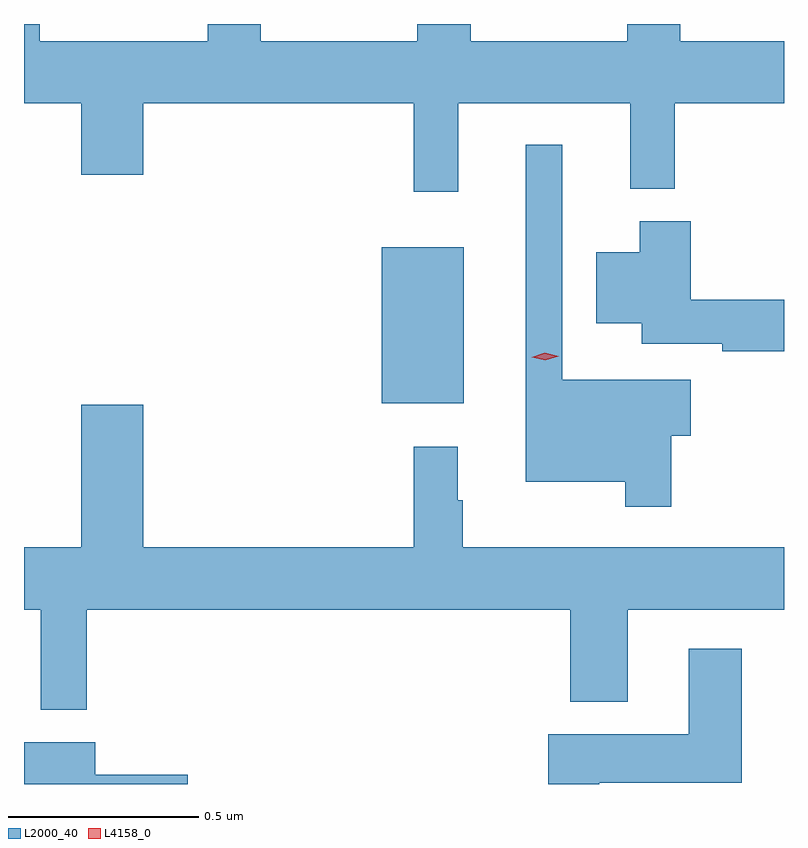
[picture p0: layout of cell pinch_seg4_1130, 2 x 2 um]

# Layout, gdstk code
import gdstk
lib = gdstk.Library(unit=1e-6, precision=1e-09)
def R(c, l, rs):  # rectangles x0, y0, x1, y1
    for r in rs: c.add(gdstk.rectangle(r[:2], r[2:], *l))
def P(c, l, *ps):  # polygons
    for p in ps: c.add(gdstk.Polygon(p, *l))
L2000_40 = (2000, 40)
L4158_0 = (4158, 0)

pinch_seg4_1130 = lib.new_cell('pinch_seg4_1130')
R(pinch_seg4_1130, L2000_40, [(405.56,794.699,405.775,795.109)])
P(pinch_seg4_1130, L2000_40, [(405.761,795.488),(406.214,795.488),(406.214,795.263),(406.331,795.263),(406.331,795.488),(406.618,795.488),(406.618,795.652),(406.345,795.652),(406.345,795.697),(406.205,795.697),(406.205,795.652),(405.793,795.652),(405.793,795.697),(405.653,795.697),(405.653,795.652),(405.241,795.652),(405.241,795.697),(405.101,795.697),(405.101,795.652),(404.659,795.652),(404.659,795.697),(404.618,795.697),(404.618,795.488),(404.768,795.488),(404.768,795.3),(404.932,795.3),(404.932,795.488),(405.643,795.488),(405.643,795.255),(405.761,795.255)],
  [(406.321,794.614),(406.372,794.614),(406.372,794.761),(406.035,794.761),(406.035,795.379),(405.938,795.379),(405.938,794.492),(406.2,794.492),(406.2,794.427),(406.321,794.427)],
  [(406.618,794.972),(406.373,794.972),(406.373,795.178),(406.238,795.178),(406.238,795.097),(406.124,795.097),(406.124,794.909),(406.244,794.909),(406.244,794.856),(406.456,794.856),(406.456,794.836),(406.618,794.836)],
  [(404.783,794.156),(406.055,794.156),(406.055,793.913),(406.207,793.913),(406.207,794.156),(406.618,794.156),(406.618,794.32),(405.772,794.32),(405.772,794.444),(405.76,794.444),(405.76,794.584),(405.643,794.584),(405.643,794.32),(404.932,794.32),(404.932,794.695),(404.768,794.695),(404.768,794.32),(404.618,794.32),(404.618,794.156),(404.662,794.156),(404.662,793.893),(404.783,793.893)],
  [(406.132,793.7),(406.507,793.7),(406.507,794.053),(406.367,794.053),(406.367,793.828),(405.998,793.828),(405.998,793.697),(406.132,793.697)],
  [(405.049,793.722),(404.806,793.722),(404.806,793.807),(404.618,793.807),(404.618,793.697),(405.049,793.697)])
P(pinch_seg4_1130, L4158_0, [(405.99,794.812),(405.954,794.82),(405.954,794.82),(405.954,794.82),(405.989,794.832),(406.025,794.823),(406.025,794.823),(406.025,794.823)])

lib.write_gds('pinch_seg4_1130.gds')
